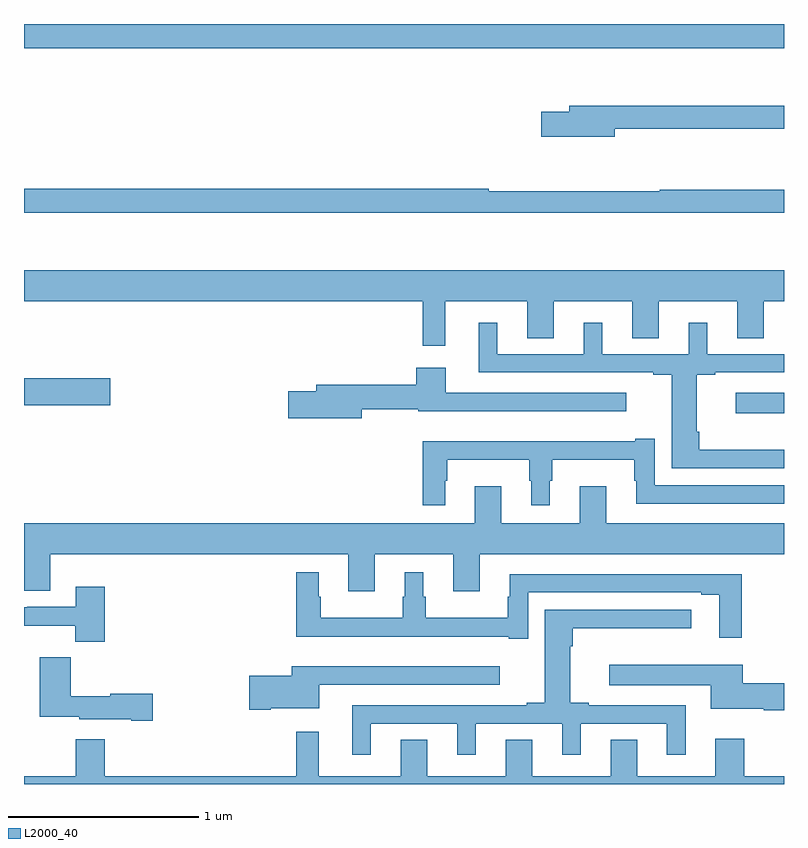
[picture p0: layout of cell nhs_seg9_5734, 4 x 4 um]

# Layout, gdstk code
import gdstk
lib = gdstk.Library(unit=1e-6, precision=1e-09)
def R(c, l, rs):  # rectangles x0, y0, x1, y1
    for r in rs: c.add(gdstk.rectangle(r[:2], r[2:], *l))
def P(c, l, *ps):  # polygons
    for p in ps: c.add(gdstk.Polygon(p, *l))
L2000_40 = (2000, 40)

nhs_seg9_5734 = lib.new_cell('nhs_seg9_5734')
R(nhs_seg9_5734, L2000_40, [(446.745,1242.452,447,1242.559), (443,1242.494,443.455,1242.636), (443,1244.372,447,1244.5)])
P(nhs_seg9_5734, L2000_40, [(446.11,1243.95),(447,1243.95),(447,1244.071),(445.871,1244.071),(445.871,1244.037),(445.722,1244.037),(445.722,1243.907),(446.11,1243.907)],
  [(447,1243.627),(446.345,1243.627),(446.345,1243.619),(445.445,1243.619),(445.445,1243.634),(443,1243.634),(443,1243.506),(447,1243.506)],
  [(445.217,1243.04),(445.649,1243.04),(445.649,1242.847),(445.789,1242.847),(445.789,1243.04),(446.201,1243.04),(446.201,1242.847),(446.341,1242.847),(446.341,1243.04),(446.753,1243.04),(446.753,1242.847),(446.893,1242.847),(446.893,1243.04),(447,1243.04),(447,1243.204),(443,1243.204),(443,1243.04),(445.099,1243.04),(445.099,1242.807),(445.217,1242.807)],
  [(447,1242.26),(446.555,1242.26),(446.555,1242.355),(446.542,1242.355),(446.542,1242.654),(446.638,1242.654),(446.638,1242.666),(447,1242.666),(447,1242.762),(446.596,1242.762),(446.596,1242.928),(446.498,1242.928),(446.498,1242.762),(446.044,1242.762),(446.044,1242.928),(445.946,1242.928),(445.946,1242.762),(445.492,1242.762),(445.492,1242.928),(445.394,1242.928),(445.394,1242.666),(446.312,1242.666),(446.312,1242.654),(446.408,1242.654),(446.408,1242.162),(447,1242.162)],
  [(444.778,1242.472),(445.076,1242.472),(445.076,1242.461),(446.17,1242.461),(446.17,1242.558),(445.219,1242.558),(445.219,1242.691),(445.064,1242.691),(445.064,1242.601),(444.539,1242.601),(444.539,1242.567),(444.39,1242.567),(444.39,1242.425),(444.778,1242.425)],
  [(445.216,1242.095),(445.228,1242.095),(445.228,1242.206),(445.659,1242.206),(445.659,1242.095),(445.67,1242.095),(445.67,1241.967),(445.768,1241.967),(445.768,1242.095),(445.78,1242.095),(445.78,1242.206),(446.211,1242.206),(446.211,1242.095),(446.222,1242.095),(446.222,1241.976),(447,1241.976),(447,1242.072),(446.319,1242.072),(446.319,1242.316),(446.216,1242.316),(446.216,1242.304),(445.099,1242.304),(445.099,1241.967),(445.216,1241.967)],
  [(444.847,1241.708),(445.259,1241.708),(445.259,1241.514),(445.399,1241.514),(445.399,1241.708),(447,1241.708),(447,1241.872),(446.065,1241.872),(446.065,1242.067),(445.925,1242.067),(445.925,1241.872),(445.513,1241.872),(445.513,1242.067),(445.373,1242.067),(445.373,1241.872),(443,1241.872),(443,1241.518),(443.137,1241.518),(443.137,1241.708),(444.707,1241.708),(444.707,1241.514),(444.847,1241.514)],
  [(445.653,1241.508),(446.564,1241.508),(446.564,1241.496),(446.66,1241.496),(446.66,1241.271),(446.777,1241.271),(446.777,1241.604),(445.556,1241.604),(445.556,1241.486),(445.545,1241.486),(445.545,1241.374),(445.114,1241.374),(445.114,1241.486),(445.102,1241.486),(445.102,1241.614),(445.004,1241.614),(445.004,1241.486),(444.993,1241.486),(444.993,1241.374),(444.562,1241.374),(444.562,1241.486),(444.55,1241.486),(444.55,1241.614),(444.433,1241.614),(444.433,1241.276),(445.55,1241.276),(445.55,1241.265),(445.653,1241.265)],
  [(443.426,1241.539),(443.273,1241.539),(443.273,1241.433),(443.017,1241.433),(443.017,1241.43),(443,1241.43),(443,1241.334),(443.271,1241.334),(443.271,1241.249),(443.426,1241.249)],
  [(444.826,1240.818),(445.28,1240.818),(445.28,1240.653),(445.378,1240.653),(445.378,1240.818),(445.832,1240.818),(445.832,1240.653),(445.93,1240.653),(445.93,1240.818),(446.384,1240.818),(446.384,1240.653),(446.482,1240.653),(446.482,1240.914),(445.972,1240.914),(445.972,1240.927),(445.876,1240.927),(445.876,1241.225),(445.889,1241.225),(445.889,1241.321),(446.512,1241.321),(446.512,1241.418),(445.742,1241.418),(445.742,1240.927),(445.646,1240.927),(445.646,1240.914),(444.728,1240.914),(444.728,1240.653),(444.826,1240.653)],
  [(443.677,1240.976),(443.454,1240.976),(443.454,1240.963),(443.246,1240.963),(443.246,1241.167),(443.084,1241.167),(443.084,1240.853),(443.292,1240.853),(443.292,1240.841),(443.564,1240.841),(443.564,1240.834),(443.677,1240.834)],
  [(447,1241.03),(446.782,1241.03),(446.782,1241.128),(446.079,1241.128),(446.079,1241.021),(446.615,1241.021),(446.615,1240.895),(446.894,1240.895),(446.894,1240.888),(447,1240.888)],
  [(444.298,1240.898),(444.553,1240.898),(444.553,1241.022),(445.504,1241.022),(445.504,1241.119),(444.41,1241.119),(444.41,1241.069),(444.186,1241.069),(444.186,1240.891),(444.298,1240.891)],
  [(447,1240.54),(446.792,1240.54),(446.792,1240.738),(446.639,1240.738),(446.639,1240.54),(446.227,1240.54),(446.227,1240.733),(446.087,1240.733),(446.087,1240.54),(445.675,1240.54),(445.675,1240.733),(445.535,1240.733),(445.535,1240.54),(445.123,1240.54),(445.123,1240.733),(444.983,1240.733),(444.983,1240.54),(444.551,1240.54),(444.551,1240.774),(444.433,1240.774),(444.433,1240.54),(443.426,1240.54),(443.426,1240.735),(443.273,1240.735),(443.273,1240.54),(443,1240.54),(443,1240.5),(447,1240.5)])

lib.write_gds('nhs_seg9_5734.gds')
